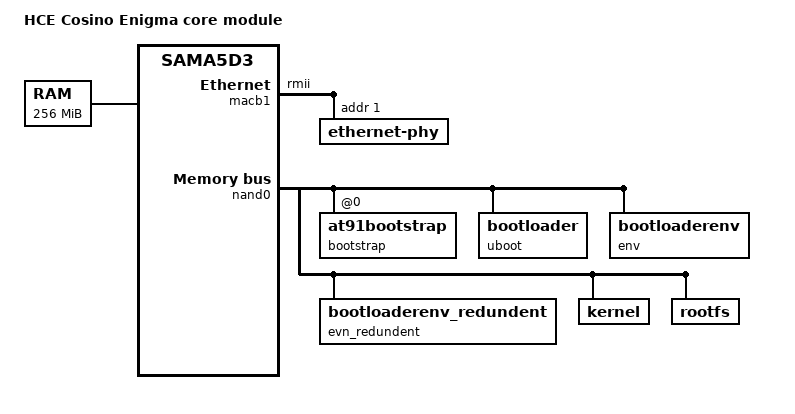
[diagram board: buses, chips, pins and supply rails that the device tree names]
/*
 * sama5d3x-enigma.dtsi - Device Tree Include file for Cosino Enigma core Module
 *
 * Copyright (C) 2015 - Rodolfo Giometti <giometti@linux.it>
 *                      HCE Engineering
 *
 * Derived from sama5d3xcm.dtsi by:
 *  Copyright (C) 2013 Atmel,
 *                2013 Ludovic Desroches <ludovic.desroches@atmel.com>
 *
 * Licensed under GPLv2 or later.
 */
#include "sama5d36.dtsi"

/ {
	model = "HCE Cosino Enigma core module";
	compatible = "hce,enigma", "atmel,sama5d3", "atmel,sama5";

	chosen {
		bootargs = "console=ttyS0,115200 earlyprintk root=/dev/mmcblk0p2 rw rootfstype=ext4 rootwait";
		stdout-path = "serial0:115200n8";
	};

	memory {
		reg = <0x20000000 0x10000000>;
	};

	clocks {
		slow_xtal {
			clock-frequency = <32768>;
		};

		main_xtal {
			clock-frequency = <12000000>;
		};
	};

	ahb {
		apb {
			macb1: ethernet@f802c000 {
				phy-mode = "rmii";
				#address-cells = <1>;
				#size-cells = <0>;
				status = "okay";

				ethernet-phy@1 {
					reg = <0x1>;
				};
			};
		};

		nand0: nand@60000000 {
			nand-bus-width = <8>;
			nand-ecc-mode = "hw";
			atmel,has-pmecc;
			atmel,pmecc-cap = <4>;
			atmel,pmecc-sector-size = <512>;
			nand-on-flash-bbt;
			status = "okay";

			at91bootstrap@0 {
				label = "bootstrap";
				reg = <0x0 0x40000>;
			};

			bootloader@40000 {
				label = "uboot";
				reg = <0x40000 0x80000>;
			};

			bootloaderenv@c0000 {
				label = "env";
				reg = <0xc0000 0x20000>;
			};

			bootloaderenv_redundent@e0000 {
				label = "evn_redundent";
				reg = <0xe0000 0x20000>;
			};

			kernel@100000 {
				label = "kernel";
				reg = <0x100000 0x400000>;
			};

			rootfs@500000 {
				label = "rootfs";
				reg = <0x500000 0x0fb00000>;
			};
		};
	};
};
